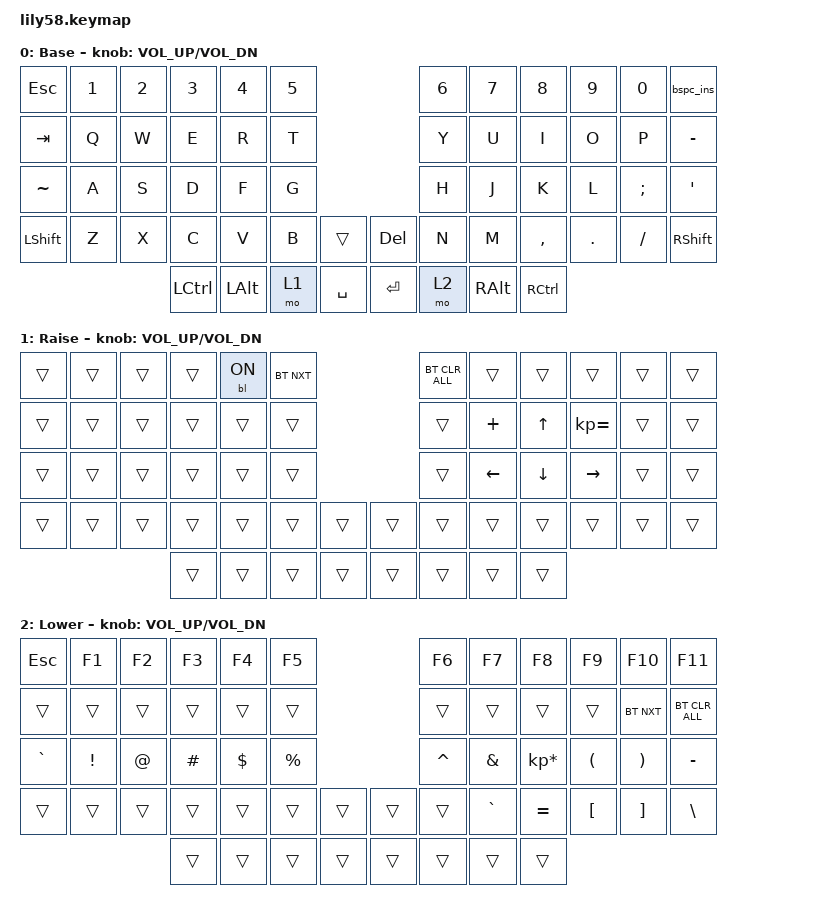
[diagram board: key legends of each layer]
/*
 * Copyright (c) 2020 The ZMK Contributors
 *
 * SPDX-License-Identifier: MIT
 */

#include <behaviors.dtsi>
#include <dt-bindings/zmk/backlight.h>
#include <dt-bindings/zmk/bt.h>
#include <dt-bindings/zmk/keys.h>

/ {
    behaviors {
        bspc_ins: backspace_insert {
            compatible = "zmk,behavior-mod-morph";
            #binding-cells = <0>;
            bindings = <&kp BACKSPACE>, <&kp INS>;

            mods = <(MOD_LSFT|MOD_RSFT)>;
        };
    };

    keymap {
        compatible = "zmk,keymap";

        default_layer {
            display-name = "Base";
            bindings = <
&kp ESC    &kp N1  &kp N2  &kp N3     &kp N4    &kp N5                        &kp N6  &kp N7    &kp N8     &kp N9   &kp N0    &bspc_ins
&kp TAB    &kp Q   &kp W   &kp E      &kp R     &kp T                         &kp Y   &kp U     &kp I      &kp O    &kp P     &kp MINUS
&kp TILDE  &kp A   &kp S   &kp D      &kp F     &kp G                         &kp H   &kp J     &kp K      &kp L    &kp SEMI  &kp SQT
&kp LSHFT  &kp Z   &kp X   &kp C      &kp V     &kp B   &trans       &kp DEL  &kp N   &kp M     &kp COMMA  &kp DOT  &kp FSLH  &kp RSHFT
                           &kp LCTRL  &kp LALT  &mo 1   &kp SPACE    &kp RET  &mo 2   &kp RALT  &kp RCTRL
            >;

            sensor-bindings = <&inc_dec_kp C_VOL_UP C_VOL_DN>;
        };

        lower_layer {
            display-name = "Raise";
            bindings = <
&trans  &trans  &trans  &trans  &bl BL_ON  &bt BT_NXT                    &bt BT_CLR_ALL  &trans    &trans        &trans           &trans  &trans
&trans  &trans  &trans  &trans  &trans     &trans                        &trans          &kp PLUS  &kp UP_ARROW  &kp KP_EQUAL     &trans  &trans
&trans  &trans  &trans  &trans  &trans     &trans                        &trans          &kp LEFT  &kp DOWN      &kp RIGHT_ARROW  &trans  &trans
&trans  &trans  &trans  &trans  &trans     &trans      &trans    &trans  &trans          &trans    &trans        &trans           &trans  &trans
                        &trans  &trans     &trans      &trans    &trans  &trans          &trans    &trans
            >;

            sensor-bindings = <&inc_dec_kp C_VOL_UP C_VOL_DN>;
        };

        raise_layer {
            display-name = "Lower";
            bindings = <
&kp ESC    &kp F1    &kp F2  &kp F3    &kp F4      &kp F5                       &kp F6     &kp F7     &kp F8           &kp F9            &kp F10            &kp F11
&trans     &trans    &trans  &trans    &trans      &trans                       &trans     &trans     &trans           &trans            &bt BT_NXT         &bt BT_CLR_ALL
&kp GRAVE  &kp EXCL  &kp AT  &kp HASH  &kp DOLLAR  &kp PRCNT                    &kp CARET  &kp AMPS   &kp KP_MULTIPLY  &kp LPAR          &kp RPAR           &kp MINUS
&trans     &trans    &trans  &trans    &trans      &trans     &trans    &trans  &trans     &kp GRAVE  &kp EQUAL        &kp LEFT_BRACKET  &kp RIGHT_BRACKET  &kp BACKSLASH
                             &trans    &trans      &trans     &trans    &trans  &trans     &trans     &trans
            >;

            sensor-bindings = <&inc_dec_kp C_VOL_UP C_VOL_DN>;
        };
    };
};
